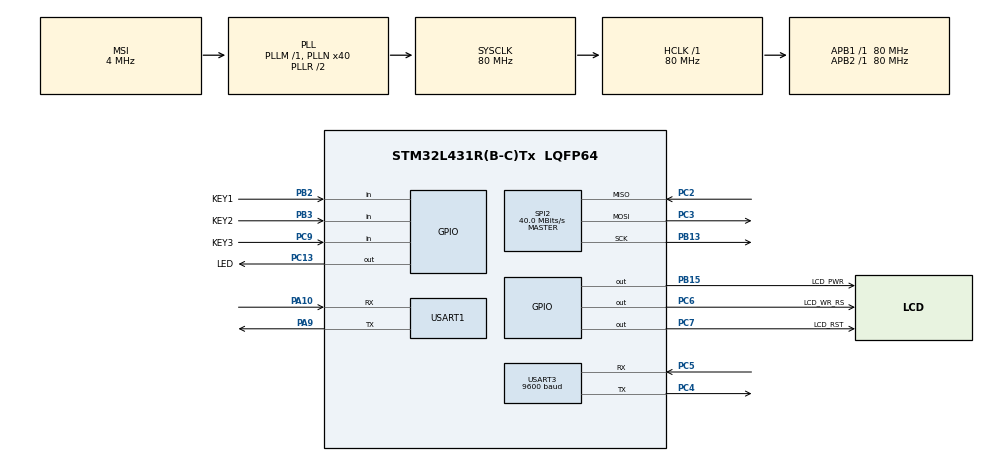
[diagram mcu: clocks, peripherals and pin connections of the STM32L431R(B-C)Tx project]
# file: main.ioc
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Mcu.Family=STM32L4
Mcu.Name=STM32L431R(B-C)Tx
Mcu.Package=LQFP64
NVIC.PriorityGroup=NVIC_PRIORITYGROUP_4
PA10.Mode=Asynchronous
PA10.Signal=USART1_RX
PA13\ (JTMS-SWDIO).Mode=Serial_Wire
PA13\ (JTMS-SWDIO).Signal=SYS_JTMS-SWDIO
PA14\ (JTCK-SWCLK).Mode=Serial_Wire
PA14\ (JTCK-SWCLK).Signal=SYS_JTCK-SWCLK
PA9.Mode=Asynchronous
PA9.Signal=USART1_TX
PB13.Mode=Full_Duplex_Master
PB13.Signal=SPI2_SCK
PB15.GPIO_Label=LCD_PWR
PB15.GPIO_Speed=GPIO_SPEED_FREQ_VERY_HIGH
PB15.Signal=GPIO_Output
PB2.GPIO_Label=KEY1
PB2.GPIO_PuPd=GPIO_PULLUP
PB2.Signal=GPIO_Input
PB3\ (JTDO-TRACESWO).GPIO_Label=KEY2
PB3\ (JTDO-TRACESWO).GPIO_PuPd=GPIO_PULLUP
PB3\ (JTDO-TRACESWO).Signal=GPIO_Input
PC13.GPIO_Label=LED
PC13.Signal=GPIO_Output
PC2.Mode=Full_Duplex_Master
PC2.Signal=SPI2_MISO
PC3.Mode=Full_Duplex_Master
PC3.Signal=SPI2_MOSI
PC4.Mode=Asynchronous
PC4.Signal=USART3_TX
PC5.Mode=Asynchronous
PC5.Signal=USART3_RX
PC6.GPIO_Label=LCD_WR_RS
PC6.GPIO_Speed=GPIO_SPEED_FREQ_VERY_HIGH
PC6.Signal=GPIO_Output
PC7.GPIO_Label=LCD_RST
PC7.GPIO_Speed=GPIO_SPEED_FREQ_VERY_HIGH
PC7.Signal=GPIO_Output
PC9.GPIO_Label=KEY3
PC9.GPIO_PuPd=GPIO_PULLUP
PC9.Signal=GPIO_Input
PH0-OSC_IN\ (PH0).Mode=HSE-External-Oscillator
PH0-OSC_IN\ (PH0).Signal=RCC_OSC_IN
PH1-OSC_OUT\ (PH1).Mode=HSE-External-Oscillator
PH1-OSC_OUT\ (PH1).Signal=RCC_OSC_OUT
ProjectManager.HeapSize=0x200
ProjectManager.StackSize=0x400
ProjectManager.TargetToolchain=MDK-ARM V5
RCC.AHBFreq_Value=80000000
RCC.APB1Freq_Value=80000000
RCC.APB1TimFreq_Value=80000000
RCC.APB2Freq_Value=80000000
RCC.APB2TimFreq_Value=80000000
RCC.CortexFreq_Value=80000000
RCC.HCLKFreq_Value=80000000
RCC.HSE_VALUE=8000000
RCC.HSI48_VALUE=48000000
RCC.HSI_VALUE=16000000
RCC.LSE_VALUE=32768
RCC.MSI_VALUE=4000000
RCC.PLLN=40
RCC.SYSCLKFreq_VALUE=80000000
RCC.SYSCLKSource=RCC_SYSCLKSOURCE_PLLCLK
RCC.VCOOutputFreq_Value=160000000
SPI2.CLKPhase=SPI_PHASE_2EDGE
SPI2.CLKPolarity=SPI_POLARITY_HIGH
SPI2.CalculateBaudRate=40.0 MBits/s
SPI2.DataSize=SPI_DATASIZE_8BIT
SPI2.Direction=SPI_DIRECTION_2LINES
SPI2.Mode=SPI_MODE_MASTER
SPI2.VirtualType=VM_MASTER
USART1.VirtualMode-Asynchronous=VM_ASYNC
USART3.BaudRate=9600
USART3.VirtualMode-Asynchronous=VM_ASYNC
VP_RTC_VS_RTC_Activate.Mode=RTC_Enabled
board=custom

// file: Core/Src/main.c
/* USER CODE BEGIN Header */
/**
  ******************************************************************************
  * @file           : main.c
  * @brief          : Main program body
  ******************************************************************************
  * @attention
  *
  * <h2><center>&copy; Copyright (c) 2020 STMicroelectronics.
  * All rights reserved.</center></h2>
  *
  * This software component is licensed by ST under BSD 3-Clause license,
  * the "License"; You may not use this file except in compliance with the
  * License. You may obtain a copy of the License at:
  *                        opensource.org/licenses/BSD-3-Clause
  *
  ******************************************************************************
  */
/* USER CODE END Header */
#include "main.h"
#include "rtc.h"
#include "spi.h"
#include "usart.h"
#include "gpio.h"

/* USER CODE BEGIN Includes */
#include "e58t_1.h"
/* USER CODE END Includes */

void SystemClock_Config(void);

/* USER CODE BEGIN 0 */
//提供发送字节的函数
void send_byte(uint8_t byte)
{
	HAL_UART_Transmit(&huart3, &byte, 1, 1000);
  while(__HAL_UART_GET_FLAG(&huart3, UART_FLAG_TXE) != SET);
}
#define NR(x) (sizeof(x)/sizeof(x[0]))
//要打印的信息
char *BearPi_Info[] =
{
	"全新一代物联网开发板\r\n",
	"小熊派BearPi\r\n",
	"STM32L431RCT6,80MHz\r\n",
	"256K Flash, 64KB SRAM\r\n",
	"支持主流的物联网操作系统\r\n",
	"支持E53系列传感器案例扩展板\r\n",
	"支持NB-IoT、2G、WIFI、4G...\r\n",
	"通过USB 5V供电或者外部5V供电\r\n",
	"1.3 'TFT,240*240分辨率\r\n",
	"上电红色LED,下载橙色LED\r\n",
	"一个用户定义LED, 蓝色\r\n",
	"一个复位按键,二个功能按键\r\n",
	"系统支持最大32Gb的SD卡存储扩展;\r\n",
	"外扩8MB SPI Flash\r\n",
	"On-board	ST-Link/V2.1\r\n\r\n\r\n"
};

/*打印小熊派开发板介绍信息*/
void Print_BearPi_Info(void)
{
	//设置居中
	Set_Text_Alignment(1);
	SendStringToPrintModule(BearPi_Info[0]);
	SendStringToPrintModule(BearPi_Info[1]);
	//设置左对齐
	Set_Text_Alignment(0);
	for(uint8_t i = 2 ; i < NR(BearPi_Info) ; i++)
		SendStringToPrintModule(BearPi_Info[i]);
}
/* USER CODE END 0 */

int main(void)
{

  /* MCU Configuration--------------------------------------------------------*/

  /* Reset of all peripherals, Initializes the Flash interface and the Systick. */
  HAL_Init();

  /* Configure the system clock */
  SystemClock_Config();

  /* Initialize all configured peripherals */
  MX_GPIO_Init();
  MX_SPI2_Init();
  MX_USART1_UART_Init();
  MX_RTC_Init();
  MX_USART3_UART_Init();
  /* USER CODE BEGIN 2 */
	LCD_Init();
	LCD_ShowChinese(0,0,(uint8_t *)"中景园电子",WHITE,BLACK,12,1); //12*12
	LCD_ShowChinese(0,20,(uint8_t *)"中景园电子",RED,BLACK,24,1); //24*24
	LCD_ShowChinese(0,60,(uint8_t *)"中景园电子",YELLOW,BLACK,32,1); //32*32
	LCD_ShowChinese(0,100,(uint8_t *)"中景园电子",GREEN,BLACK,48,1); //48*48
	LCD_ShowChinese(15,160,(uint8_t *)"中景园",BLUE,BLACK,64,1); //64*64
	Print_BearPi_Info();
  /* USER CODE END 2 */

  /* Infinite loop */
  while (1)
  {

  }
}

void SystemClock_Config(void)
{
  RCC_OscInitTypeDef RCC_OscInitStruct = {0};
  RCC_ClkInitTypeDef RCC_ClkInitStruct = {0};
  RCC_PeriphCLKInitTypeDef PeriphClkInit = {0};

  /** Initializes the RCC Oscillators according to the specified parameters
  * in the RCC_OscInitTypeDef structure.
  */
  RCC_OscInitStruct.OscillatorType = RCC_OSCILLATORTYPE_LSI|RCC_OSCILLATORTYPE_MSI;
  RCC_OscInitStruct.LSIState = RCC_LSI_ON;
  RCC_OscInitStruct.MSIState = RCC_MSI_ON;
  RCC_OscInitStruct.MSICalibrationValue = 0;
  RCC_OscInitStruct.MSIClockRange = RCC_MSIRANGE_6;
  RCC_OscInitStruct.PLL.PLLState = RCC_PLL_ON;
  RCC_OscInitStruct.PLL.PLLSource = RCC_PLLSOURCE_MSI;
  RCC_OscInitStruct.PLL.PLLM = 1;
  RCC_OscInitStruct.PLL.PLLN = 40;
  RCC_OscInitStruct.PLL.PLLP = RCC_PLLP_DIV7;
  RCC_OscInitStruct.PLL.PLLQ = RCC_PLLQ_DIV2;
  RCC_OscInitStruct.PLL.PLLR = RCC_PLLR_DIV2;
  if (HAL_RCC_OscConfig(&RCC_OscInitStruct) != HAL_OK)
  {
    Error_Handler();
  }
  /** Initializes the CPU, AHB and APB buses clocks
  */
  RCC_ClkInitStruct.ClockType = RCC_CLOCKTYPE_HCLK|RCC_CLOCKTYPE_SYSCLK
                              |RCC_CLOCKTYPE_PCLK1|RCC_CLOCKTYPE_PCLK2;
  RCC_ClkInitStruct.SYSCLKSource = RCC_SYSCLKSOURCE_PLLCLK;
  RCC_ClkInitStruct.AHBCLKDivider = RCC_SYSCLK_DIV1;
  RCC_ClkInitStruct.APB1CLKDivider = RCC_HCLK_DIV1;
  RCC_ClkInitStruct.APB2CLKDivider = RCC_HCLK_DIV1;

  if (HAL_RCC_ClockConfig(&RCC_ClkInitStruct, FLASH_LATENCY_4) != HAL_OK)
  {
    Error_Handler();
  }
  PeriphClkInit.PeriphClockSelection = RCC_PERIPHCLK_RTC|RCC_PERIPHCLK_USART1
                              |RCC_PERIPHCLK_USART3;
  PeriphClkInit.Usart1ClockSelection = RCC_USART1CLKSOURCE_PCLK2;
  PeriphClkInit.Usart3ClockSelection = RCC_USART3CLKSOURCE_PCLK1;
  PeriphClkInit.RTCClockSelection = RCC_RTCCLKSOURCE_LSI;
  if (HAL_RCCEx_PeriphCLKConfig(&PeriphClkInit) != HAL_OK)
  {
    Error_Handler();
  }
  /** Configure the main internal regulator output voltage
  */
  if (HAL_PWREx_ControlVoltageScaling(PWR_REGULATOR_VOLTAGE_SCALE1) != HAL_OK)
  {
    Error_Handler();
  }
}

void Error_Handler(void)
{
}

/************************ (C) COPYRIGHT STMicroelectronics *****END OF FILE****/
